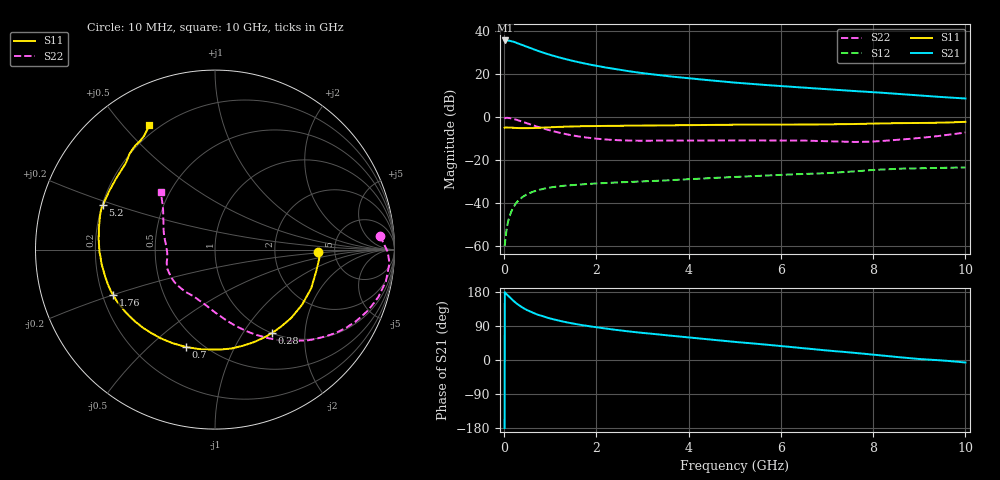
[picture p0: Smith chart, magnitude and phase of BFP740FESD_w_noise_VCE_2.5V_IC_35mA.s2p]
! Infineon Technologies  Discrete & RF Semiconductors
! BFP740FESD
! VCE =  2.5 V,  IC =  35 mA
! Common Emitter S-Parameters:  Jan 2016
# GHz  S  MA  R  50
!  f  S11  S21  S12  S22
! GHz  MAG  ANG  MAG  ANG  MAG  ANG  MAG  ANG
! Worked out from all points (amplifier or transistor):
!   233 points, 10 MHz to 10 GHz, reference 50 ohm
!   highest |S21| = 35.8 dB at 20 MHz (marker M1)
!   |S21| within 3 dB of that: start of sweep to 497.6 MHz
!   unconditionally stable (mu >= 1): 5.001 GHz to end of sweep
!   at 200 MHz: K = 0.14, MSG = 38.6 dB, |S12| = -41.9 dB
!   at 1.74 GHz: K = 0.59, MSG = 28.1 dB, |S12| = -31.2 dB
!   at 10 GHz: K = 1.13, MAG = 13.9 dB, |S12| = -23.4 dB
!   lowest NFmin = 1.06 dB at 450 MHz
!   S11 on the Smith chart (normalised r, x): 10 MHz: 3.68, -0.13; 280 MHz: 1.00, -1.36; 700 MHz: 0.41, -0.66; 1.76 GHz: 0.24, -0.20; 5.2 GHz: 0.20, +0.18; 10 GHz: 0.17, +0.59
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0.01  0.5734 -1.2  60.71 -179.5  0.001 113.1  0.9217 4.8
0.02  0.5835 -4.6  61.38 177.7  0.0012 102.5  0.962 -0.7
0.1  0.5779 -21.9  60.99 168.1  0.0043 81.3  0.9687 -10.6
0.15  0.5742 -32.3  59.45 161.8  0.0062 76.8  0.9473 -16.3
0.2  0.5705 -41.8  57.49 156.3  0.008 73.2  0.9188 -21.5
0.28  0.5619 -55.9  53.54 148.2  0.0107 67.5  0.8653 -28.8
0.36  0.5588 -68.5  49.71 141.4  0.013 63.0  0.8103 -35.3
0.45  0.5586 -80.6  45.51 134.7  0.0151 58.7  0.7512 -41.5
0.6  0.5613 -97.4  39.44 125.7  0.0181 52.8  0.6619 -50.3
0.7  0.5662 -106.6  36.05 120.9  0.0197 49.8  0.6119 -55.4
0.9  0.5791 -121.2  30.55 112.8  0.0222 44.8  0.5289 -64.1
1.1  0.592 -132.5  26.32 106.3  0.0241 41.4  0.4637 -71.7
1.4  0.6084 -145.3  21.61 98.3  0.026 37.7  0.3925 -81.9
1.68  0.6193 -153.9  18.49 92.3  0.0274 35.7  0.3495 -90.0
1.76  0.6216 -155.9  17.71 90.8  0.0278 35.4  0.3403 -92.1
2.58  0.637 -172.7  12.37 77.1  0.0308 33.5  0.2894 -111.5
3.4  0.6486 176.2  9.45 66.8  0.0336 34.3  0.2864 -123.4
5.1  0.6727 159.3  6.289 46.8  0.0413 35.6  0.2892 -140.9
5.2  0.6722 158.4  6.165 45.8  0.0418 35.5  0.2891 -141.9
6.8  0.6809 142.0  4.656 27.5  0.0493 34.7  0.2813 -162.5
8.4  0.727 128.5  3.591 9.3  0.0625 31.3  0.2919 165.6
10  0.783 117.8  2.738 -6.6  0.0679 22.8  0.4412 133.3
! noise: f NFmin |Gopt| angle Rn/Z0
0.45  1.06  0.21  -171  0.08
2.4  1.1  0.22  -158  0.09
5.5  1.26  0.25  -159  0.1
10  1.79  0.43  -113  0.25
